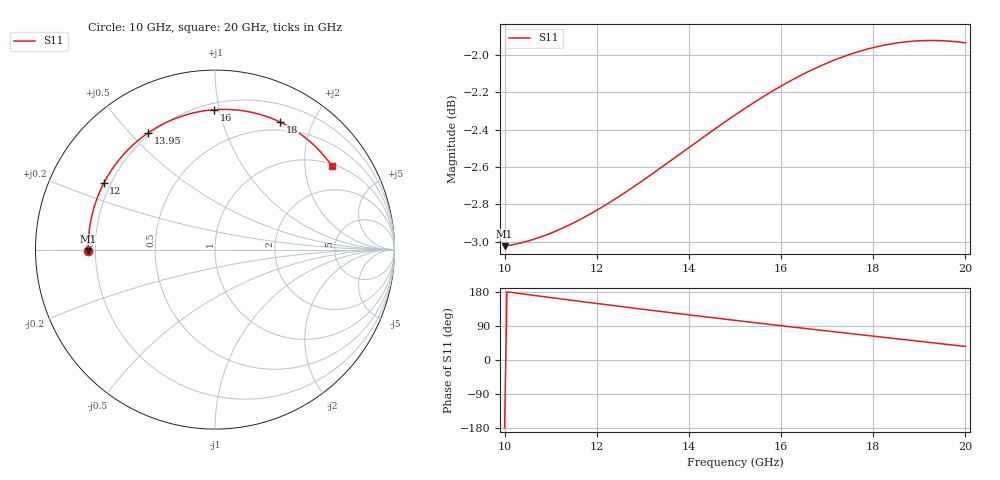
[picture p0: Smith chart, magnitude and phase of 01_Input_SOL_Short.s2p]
! Synthetic calibration acquisition fixture: NOT a frequency-converting S2P model.
! RF=10..20 GHz; LO=5 GHz; IF=RF-LO. 201 points, 50 MHz step.
! Only S11 is meaningful. S21=S12=S22=0 are unused matched/isolated placeholders.
! Use ideal Open(+1), Short(-1), Load(0), zero offsets, Z0=50 ohm.
! Order: frequency_Hz S11_Re S11_Im S21_Re S21_Im S12_Re S12_Im S22_Re S22_Im
# Hz S RI R 50
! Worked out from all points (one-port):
!   201 points, 10 GHz to 20 GHz, reference 50 ohm
!   lowest |S11| = -3.0 dB at 10 GHz (marker M1), VSWR 5.80, Z = 8.62 - j0.244 ohm
!   |S11| at or under -10 dB: nowhere
!   S11 on the Smith chart (normalised r, x): 10 GHz: 0.17, -0.00; 12 GHz: 0.17, +0.27; 13.95 GHz: 0.19, +0.56; 16 GHz: 0.24, +0.96; 18 GHz: 0.40, +1.56; 20 GHz: 1.05, +2.74
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1e10  -0.706 -0.0071  0 0  0 0  0 0
1.04e10  -0.7041 0.0712  0 0  0 0  0 0
1.085e10  -0.6926 0.1585  0 0  0 0  0 0
1.125e10  -0.6743 0.2344  0 0  0 0  0 0
1.17e10  -0.6447 0.317  0 0  0 0  0 0
1.2e10  -0.6199 0.3699  0 0  0 0  0 0
1.265e10  -0.5531 0.4769  0 0  0 0  0 0
1.335e10  -0.4629 0.5778  0 0  0 0  0 0
1.395e10  -0.3728 0.6503  0 0  0 0  0 0
1.45e10  -0.2816 0.7037  0 0  0 0  0 0
1.5e10  -0.1932 0.7407  0 0  0 0  0 0
1.55e10  -0.101 0.766  0 0  0 0  0 0
1.6e10  -0.00648 0.7793  0 0  0 0  0 0
1.635e10  0.0602 0.7812  0 0  0 0  0 0
1.67e10  0.1266 0.7772  0 0  0 0  0 0
1.735e10  0.2478 0.7538  0 0  0 0  0 0
1.8e10  0.3632 0.7106  0 0  0 0  0 0
1.835e10  0.4217 0.6794  0 0  0 0  0 0
1.875e10  0.4849 0.6374  0 0  0 0  0 0
1.915e10  0.5434 0.5892  0 0  0 0  0 0
1.96e10  0.6028 0.5279  0 0  0 0  0 0
2e10  0.6493 0.4679  0 0  0 0  0 0
